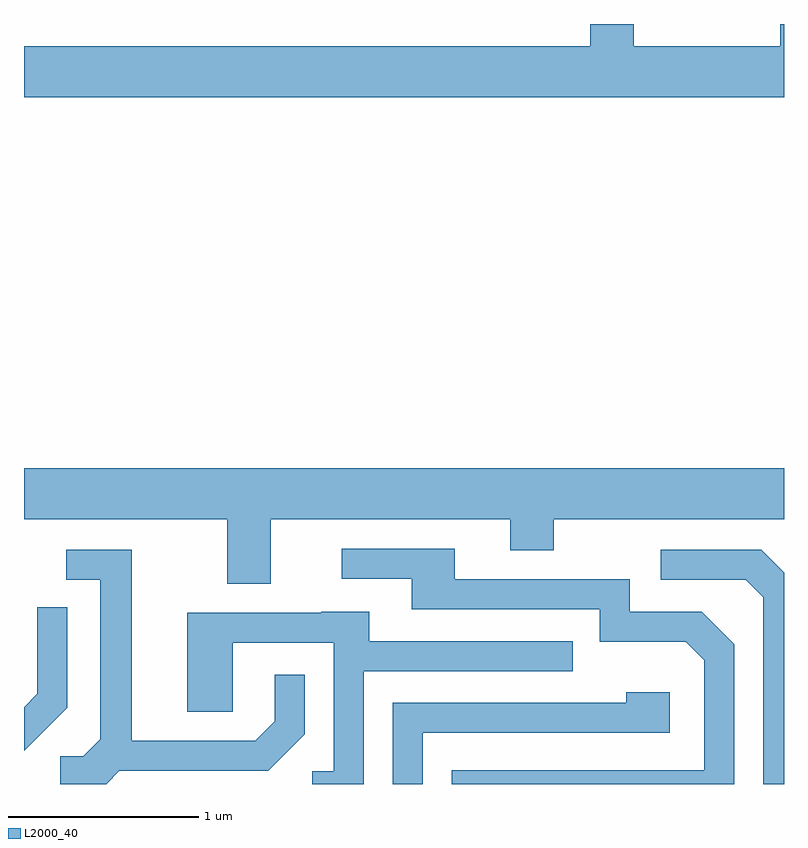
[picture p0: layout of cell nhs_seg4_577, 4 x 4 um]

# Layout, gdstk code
import gdstk
lib = gdstk.Library(unit=1e-6, precision=1e-09)
def P(c, l, *ps):  # polygons
    for p in ps: c.add(gdstk.Polygon(p, *l))
L2000_40 = (2000, 40)

nhs_seg4_577 = lib.new_cell('nhs_seg4_577')
P(nhs_seg4_577, L2000_40, [(205.611,1323.982),(205.591,1323.982),(205.591,1323.864),(204.819,1323.864),(204.819,1323.982),(204.591,1323.982),(204.591,1323.864),(201.611,1323.864),(201.611,1323.596),(205.611,1323.596)],
  [(202.909,1321.376),(204.171,1321.376),(204.171,1321.211),(204.399,1321.211),(204.399,1321.376),(205.611,1321.376),(205.611,1321.644),(201.611,1321.644),(201.611,1321.376),(202.681,1321.376),(202.681,1321.036),(202.909,1321.036)],
  [(205.349,1320.717),(205.177,1320.889),(204.799,1320.889),(204.799,1321.059),(203.879,1321.059),(203.879,1321.219),(203.283,1321.219),(203.283,1321.061),(203.651,1321.061),(203.651,1320.901),(204.641,1320.901),(204.641,1320.731),(205.094,1320.731),(205.191,1320.634),(205.191,1320.054),(203.861,1320.054),(203.861,1319.982),(205.349,1319.982)],
  [(202.112,1320.051),(202.897,1320.051),(203.089,1320.244),(203.089,1320.558),(202.931,1320.558),(202.931,1320.312),(202.829,1320.209),(202.179,1320.209),(202.179,1321.214),(201.833,1321.214),(201.833,1321.056),(202.011,1321.056),(202.011,1320.217),(201.924,1320.129),(201.803,1320.129),(201.803,1319.982),(202.043,1319.982)],
  [(205.611,1321.095),(205.492,1321.214),(204.963,1321.214),(204.963,1321.056),(205.409,1321.056),(205.501,1320.964),(205.501,1319.982),(205.611,1319.982)],
  [(201.839,1320.384),(201.839,1320.913),(201.681,1320.913),(201.681,1320.457),(201.611,1320.387),(201.611,1320.156)],
  [(203.399,1320.576),(204.498,1320.576),(204.498,1320.734),(203.429,1320.734),(203.429,1320.889),(203.175,1320.889),(203.175,1320.884),(202.471,1320.884),(202.471,1320.361),(202.709,1320.361),(202.709,1320.726),(203.241,1320.726),(203.241,1320.049),(203.128,1320.049),(203.128,1319.982),(203.399,1319.982)],
  [(203.709,1320.251),(205.009,1320.251),(205.009,1320.464),(204.781,1320.464),(204.781,1320.409),(203.551,1320.409),(203.551,1319.982),(203.709,1319.982)])

lib.write_gds('nhs_seg4_577.gds')
